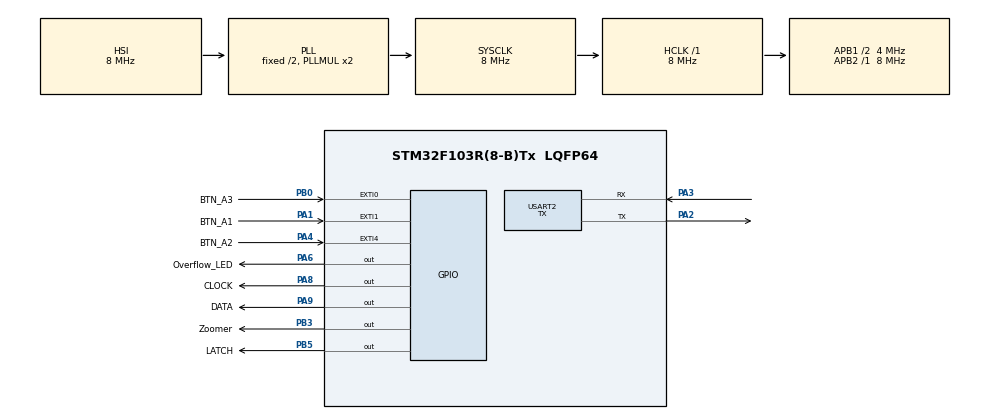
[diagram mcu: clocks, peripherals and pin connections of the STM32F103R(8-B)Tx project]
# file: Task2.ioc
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Mcu.Family=STM32F1
Mcu.Name=STM32F103R(8-B)Tx
Mcu.Package=LQFP64
NVIC.EXTI0_IRQn=true\:0\:0\:false\:false\:true\:true\:true
NVIC.EXTI1_IRQn=true\:0\:0\:false\:false\:true\:true\:true
NVIC.EXTI4_IRQn=true\:0\:0\:false\:false\:true\:true\:true
NVIC.PriorityGroup=NVIC_PRIORITYGROUP_4
NVIC.RCC_IRQn=true\:0\:0\:false\:false\:true\:true\:false
PA1.GPIO_Label=BTN_A1
PA1.GPIO_ModeDefaultEXTI=GPIO_MODE_IT_RISING_FALLING
PA1.Signal=GPXTI1
PA13.GPIO_Label=TMS
PA13.Mode=Serial_Wire
PA13.Signal=SYS_JTMS-SWDIO
PA14.GPIO_Label=TCK
PA14.Mode=Serial_Wire
PA14.Signal=SYS_JTCK-SWCLK
PA2.Mode=Asynchronous
PA2.Signal=USART2_TX
PA3.Mode=Asynchronous
PA3.Signal=USART2_RX
PA4.GPIO_Label=BTN_A2
PA4.GPIO_ModeDefaultEXTI=GPIO_MODE_IT_RISING_FALLING
PA4.Signal=GPXTI4
PA6.GPIO_Label=Overflow_LED
PA6.Signal=GPIO_Output
PA8.GPIO_Label=CLOCK
PA8.Signal=GPIO_Output
PA9.GPIO_Label=DATA
PA9.Signal=GPIO_Output
PB0.GPIO_Label=BTN_A3
PB0.GPIO_ModeDefaultEXTI=GPIO_MODE_IT_RISING_FALLING
PB0.Signal=GPXTI0
PB3.GPIO_Label=Zoomer
PB3.Signal=GPIO_Output
PB5.GPIO_Label=LATCH
PB5.Signal=GPIO_Output
PC14-OSC32_IN.Mode=LSE-External-Oscillator
PC14-OSC32_IN.Signal=RCC_OSC32_IN
PC15-OSC32_OUT.Mode=LSE-External-Oscillator
PC15-OSC32_OUT.Signal=RCC_OSC32_OUT
PD0-OSC_IN.Mode=HSE-External-Oscillator
PD0-OSC_IN.Signal=RCC_OSC_IN
PD1-OSC_OUT.Mode=HSE-External-Oscillator
PD1-OSC_OUT.Signal=RCC_OSC_OUT
ProjectManager.HeapSize=0x200
ProjectManager.StackSize=0x400
ProjectManager.TargetToolchain=MDK-ARM V5
RCC.AHBFreq_Value=8000000
RCC.APB1CLKDivider=RCC_HCLK_DIV2
RCC.APB1Freq_Value=4000000
RCC.APB1TimFreq_Value=8000000
RCC.APB2Freq_Value=8000000
RCC.APB2TimFreq_Value=8000000
RCC.HCLKFreq_Value=8000000
RCC.RTCClockSelection=RCC_RTCCLKSOURCE_LSE
RCC.SYSCLKFreq_VALUE=8000000
RCC.SYSCLKSource=RCC_SYSCLKSOURCE_PLLCLK
RCC.USBFreq_Value=8000000
TIM2.AutoReloadPreload=TIM_AUTORELOAD_PRELOAD_ENABLE
TIM2.ClockDivision=TIM_CLOCKDIVISION_DIV1
TIM2.Prescaler=0
TIM3.AutoReloadPreload=TIM_AUTORELOAD_PRELOAD_ENABLE
TIM3.ClockDivision=TIM_CLOCKDIVISION_DIV1
TIM3.Period=65535
TIM3.Prescaler=0
USART2.Mode=MODE_TX
USART2.VirtualMode=VM_ASYNC
VP_TIM2_VS_ClockSourceINT.Mode=Internal
VP_TIM3_VS_ClockSourceINT.Mode=Internal
board=NUCLEO-F103RB

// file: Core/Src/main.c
/* USER CODE BEGIN Header */
/**
  ******************************************************************************
  * @file           : main.c
  * @brief          : Main program body
  ******************************************************************************
  * @attention
  *
  * <h2><center>&copy; Copyright (c) 2023 STMicroelectronics.
  * All rights reserved.</center></h2>
  *
  * This software component is licensed by ST under BSD 3-Clause license,
  * the "License"; You may not use this file except in compliance with the
  * License. You may obtain a copy of the License at:
  *                        opensource.org/licenses/BSD-3-Clause
  *
  ******************************************************************************
  */
/* USER CODE END Header */
#include "main.h"
#include "tim.h"
#include "usart.h"
#include "gpio.h"

/* USER CODE BEGIN Includes */
#include <stdio.h>
#include <string.h>
/* USER CODE END Includes */

/* USER CODE BEGIN PV */
/*
	    a
	  -----
  f|     |b
   |  g  |
    -----
  e|     |c
   |     |
    ----- .h
	    d
*/
//		a b c d e f g h		invert
//	0 	1 1 1 1 1 1 0 0		0000 0011
//	1 	0 1 1 0 0 0 0 0		1001 1111
//	2	  1 1 0 1 1 0 1 0		0010 0101
//	3	  1 1 1 1 0 0 1 0		0000 1101
//	4 	0 1 1 0 0 1 1 0		1001 1001
//	5 	1 0 1 1 0 1 1 0		0100 1001
//	6  	1 0 1 1 1 1 1 0		0100 0001
//	7	  1 1 1 0 0 0 0 0		0001 1111
//	8 	1 1 1 1 1 1 1 0		0000 0001
//	9	  1 1 1 1 0 1 1 0		0000 1001

//                           0     1     2     3     4     5     6     7     8     9
const uint8_t DIGITS[] = {0x03, 0x9F, 0x25, 0x0D, 0x99, 0x49, 0x41, 0x1F, 0x01, 0x09};

//                             0     1     2     3
const uint8_t SEGMENTS[] = {0x10, 0x20, 0x40, 0x80};

/* USER CODE END PV */

void SystemClock_Config(void);
/* USER CODE BEGIN PFP */
void ZoomerInc(void);
void ZoomerDec(void);
void ZoomerReset(void);
void ZoomerPlaySound(int);
void BeginDisplayWrite(void);
void EndDisplayWrite(void);
void WriteDataToRegister(uint8_t dataBits);
void WriteDataToSegment(uint8_t, uint8_t);
void WriteNumberToDisplay(uint32_t);
void setPWM(uint16_t pwmValue);
/* USER CODE END PFP */

/* USER CODE BEGIN 0 */
volatile int zoomerValue = 0;
const int zoomerDefaultValue = 0;

const int BUTTON_LONG_CLICK_MILLISEC = 3000;
const int LONG_CLICK_UPDATE_MILLISEC = 1000;

volatile int Btn1Click = 0;
volatile int Btn1ClickTime = 0;
volatile int Btn1LongClick = 0;
volatile int Btn2Click = 0;
volatile int Btn2ClickTime = 0;
volatile int Overflow = 0;
volatile int Btn3Click = 0;
volatile int Btn3ClickTime = 0;
volatile int Btn3LongClick = 0;
/* USER CODE END 0 */

int main(void)
{

  /* MCU Configuration--------------------------------------------------------*/

  /* Reset of all peripherals, Initializes the Flash interface and the Systick. */
  HAL_Init();

  /* Configure the system clock */
  SystemClock_Config();

  /* Initialize all configured peripherals */
  MX_GPIO_Init();
  MX_TIM3_Init();
  MX_TIM2_Init();
  MX_USART2_UART_Init();
  /* USER CODE BEGIN 2 */
	int currentTime = 0;
  /* USER CODE END 2 */

  /* Infinite loop */
  /* USER CODE BEGIN WHILE */
	int const BUFFER_LEN = 256;
  char buffer[BUFFER_LEN];
  while (1)
  {
    /* USER CODE END WHILE */

    /* USER CODE BEGIN 3 */
		currentTime = HAL_GetTick();
		if (Btn1Click && currentTime - Btn1ClickTime > BUTTON_LONG_CLICK_MILLISEC)
		{
			Btn1LongClick = 1;
			Btn1ClickTime += BUTTON_LONG_CLICK_MILLISEC;
			ZoomerDec();
		}
		if (Btn1LongClick && currentTime - Btn1ClickTime > LONG_CLICK_UPDATE_MILLISEC)
		{
			Btn1ClickTime += LONG_CLICK_UPDATE_MILLISEC;
			ZoomerDec();
		}

		if (Btn3Click && currentTime - Btn3ClickTime > BUTTON_LONG_CLICK_MILLISEC)
		{
			Btn3LongClick = 1;
			Btn3ClickTime += BUTTON_LONG_CLICK_MILLISEC;
			ZoomerInc();
		}
		if (Btn3LongClick && currentTime - Btn3ClickTime > LONG_CLICK_UPDATE_MILLISEC)
		{
			Btn3ClickTime += LONG_CLICK_UPDATE_MILLISEC;
			ZoomerInc();
		}

		if (Overflow)
		{
			HAL_GPIO_WritePin(GPIOA, Overflow_LED_Pin, GPIO_PIN_RESET);
		}
		else
		{
			HAL_GPIO_WritePin(GPIOA, Overflow_LED_Pin, GPIO_PIN_SET);
		}

		snprintf(buffer, BUFFER_LEN, "X=%04d\n", (int)zoomerValue);
	  HAL_UART_Transmit(&huart2, (uint8_t *)buffer, strlen(buffer), HAL_MAX_DELAY);
		ZoomerPlaySound(zoomerValue);
	}
  /* USER CODE END 3 */
}

void SystemClock_Config(void)
{
  RCC_OscInitTypeDef RCC_OscInitStruct = {0};
  RCC_ClkInitTypeDef RCC_ClkInitStruct = {0};

  /** Initializes the RCC Oscillators according to the specified parameters
  * in the RCC_OscInitTypeDef structure.
  */
  RCC_OscInitStruct.OscillatorType = RCC_OSCILLATORTYPE_HSI;
  RCC_OscInitStruct.HSIState = RCC_HSI_ON;
  RCC_OscInitStruct.HSICalibrationValue = RCC_HSICALIBRATION_DEFAULT;
  RCC_OscInitStruct.PLL.PLLState = RCC_PLL_ON;
  RCC_OscInitStruct.PLL.PLLSource = RCC_PLLSOURCE_HSI_DIV2;
  RCC_OscInitStruct.PLL.PLLMUL = RCC_PLL_MUL2;
  if (HAL_RCC_OscConfig(&RCC_OscInitStruct) != HAL_OK)
  {
    Error_Handler();
  }
  /** Initializes the CPU, AHB and APB buses clocks
  */
  RCC_ClkInitStruct.ClockType = RCC_CLOCKTYPE_HCLK|RCC_CLOCKTYPE_SYSCLK
                              |RCC_CLOCKTYPE_PCLK1|RCC_CLOCKTYPE_PCLK2;
  RCC_ClkInitStruct.SYSCLKSource = RCC_SYSCLKSOURCE_PLLCLK;
  RCC_ClkInitStruct.AHBCLKDivider = RCC_SYSCLK_DIV1;
  RCC_ClkInitStruct.APB1CLKDivider = RCC_HCLK_DIV2;
  RCC_ClkInitStruct.APB2CLKDivider = RCC_HCLK_DIV1;

  if (HAL_RCC_ClockConfig(&RCC_ClkInitStruct, FLASH_LATENCY_0) != HAL_OK)
  {
    Error_Handler();
  }
}

/* USER CODE BEGIN 4 */
void BeginDisplayWrite()
{
	HAL_GPIO_WritePin(LATCH_GPIO_Port, LATCH_Pin, GPIO_PIN_RESET);
}

void EndDisplayWrite()
{
	HAL_GPIO_WritePin(LATCH_GPIO_Port, LATCH_Pin, GPIO_PIN_SET);
}

void WriteDataToRegister(uint8_t dataBits)
{
	for (int i = 0; i < 8; i++)
	{
		HAL_GPIO_WritePin(DATA_GPIO_Port, DATA_Pin, dataBits % 2);
		dataBits >>= 1;
		HAL_GPIO_WritePin(CLOCK_GPIO_Port, CLOCK_Pin, GPIO_PIN_SET);
		HAL_GPIO_WritePin(CLOCK_GPIO_Port, CLOCK_Pin, GPIO_PIN_RESET);
	}
}

void WriteDataToSegment(uint8_t dataBits, uint8_t segmentBits)
{
	BeginDisplayWrite();
	WriteDataToRegister(dataBits);
	WriteDataToRegister(segmentBits);
	EndDisplayWrite();
}

void WriteNumberToDisplay(uint32_t number)
{
	for (int i = 0; i < 4; i++)
	{
		WriteDataToSegment(DIGITS[number % 10], SEGMENTS[i]);
		number /= 10;
	}
}

const int BUTTON_STEP = 1;
const int BUTTON_DEBOUNCE_MILLISEC = 150;
void HAL_GPIO_EXTI_Callback(uint16_t GPIO_Pin)
{
	int currentTime = HAL_GetTick();
	switch (GPIO_Pin)
	{
		case BTN_A1_Pin:
			if (HAL_GPIO_ReadPin(GPIOA, BTN_A1_Pin) == 0)
			{
				if (currentTime - Btn1ClickTime > BUTTON_DEBOUNCE_MILLISEC)
				{
					Btn1ClickTime = currentTime;
					Btn1Click = 1;
					Btn1LongClick = 0;
					ZoomerDec();
				}
			}
			else
			{
				Btn1Click = 0;
				Btn1LongClick = 0;
			}
			break;
		case BTN_A2_Pin:
			if (HAL_GPIO_ReadPin(GPIOA, BTN_A2_Pin) == 0)
			{
				if (currentTime - Btn2ClickTime > BUTTON_DEBOUNCE_MILLISEC)
				{
					ZoomerReset();
					Overflow = 1;
				}
			}
			else
			{
				Btn2ClickTime = currentTime;
				Btn2Click = 1;
				Btn2Click = 0;
				Overflow = 0;
			}
			break;
		case BTN_A3_Pin:
			if (HAL_GPIO_ReadPin(GPIOB, BTN_A3_Pin) == 0)
			{
				if (currentTime - Btn3ClickTime > BUTTON_DEBOUNCE_MILLISEC)
				{
					Btn3ClickTime = currentTime;
					Btn3Click = 1;
					Btn3LongClick = 0;
					ZoomerInc();
				}
			}
			else
			{
				Btn3Click = 0;
				Btn3LongClick = 0;
			}
			break;
	}
}

void ZoomerInc()
{
	Overflow = 0;
	zoomerValue += BUTTON_STEP;
	if (zoomerValue > 254)
	{
		ZoomerReset();
		Overflow = 1;
	}
}

void ZoomerDec()
{
	Overflow = 0;
	zoomerValue -= BUTTON_STEP;
	if (zoomerValue < 0) zoomerValue = 0;
}

void ZoomerReset()
{
	Overflow = 0;
	zoomerValue = zoomerDefaultValue;
}

void ZoomerPlaySound(int zoomerValue)
{
	HAL_GPIO_TogglePin(GPIOB, Zoomer_Pin);
	WriteNumberToDisplay(zoomerValue);
	HAL_Delay(zoomerValue);
	WriteNumberToDisplay(zoomerValue);
	HAL_GPIO_TogglePin(GPIOB, Zoomer_Pin);
	WriteNumberToDisplay(zoomerValue);
	HAL_Delay(2);
	WriteNumberToDisplay(zoomerValue);
}
/* USER CODE END 4 */

void Error_Handler(void)
{
  __disable_irq();
  while (1)
  {
  }
}

/************************ (C) COPYRIGHT STMicroelectronics *****END OF FILE****/
